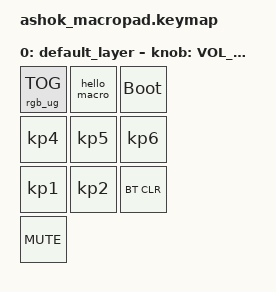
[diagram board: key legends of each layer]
#include <behaviors.dtsi>
#include <dt-bindings/zmk/keys.h>
#include <dt-bindings/zmk/bt.h>
#include <dt-bindings/zmk/reset.h>
#include <dt-bindings/zmk/outputs.h>
#include <dt-bindings/zmk/rgb.h>

/ {
    behaviors {
        hello_macro: hello_macro {
            compatible = "zmk,behavior-macro";
            #binding-cells = <0>;
            bindings
                = <&macro_tap &kp H &kp E &kp L &kp L &kp O &kp SPACE &kp W &kp O &kp R &kp L &kp D>;
        };
    };

    keymap {
        compatible = "zmk,keymap";

        default_layer {
            bindings = <
                &rgb_ug RGB_TOG &hello_macro &bootloader
                &kp KP_N4 &kp KP_N5 &kp KP_N6
                &kp KP_N1 &kp KP_N2 &bt BT_CLR
                &kp C_MUTE
            >;
            
            sensor-bindings = <&inc_dec_kp C_VOL_UP C_VOL_DN>;
        };
    };
};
